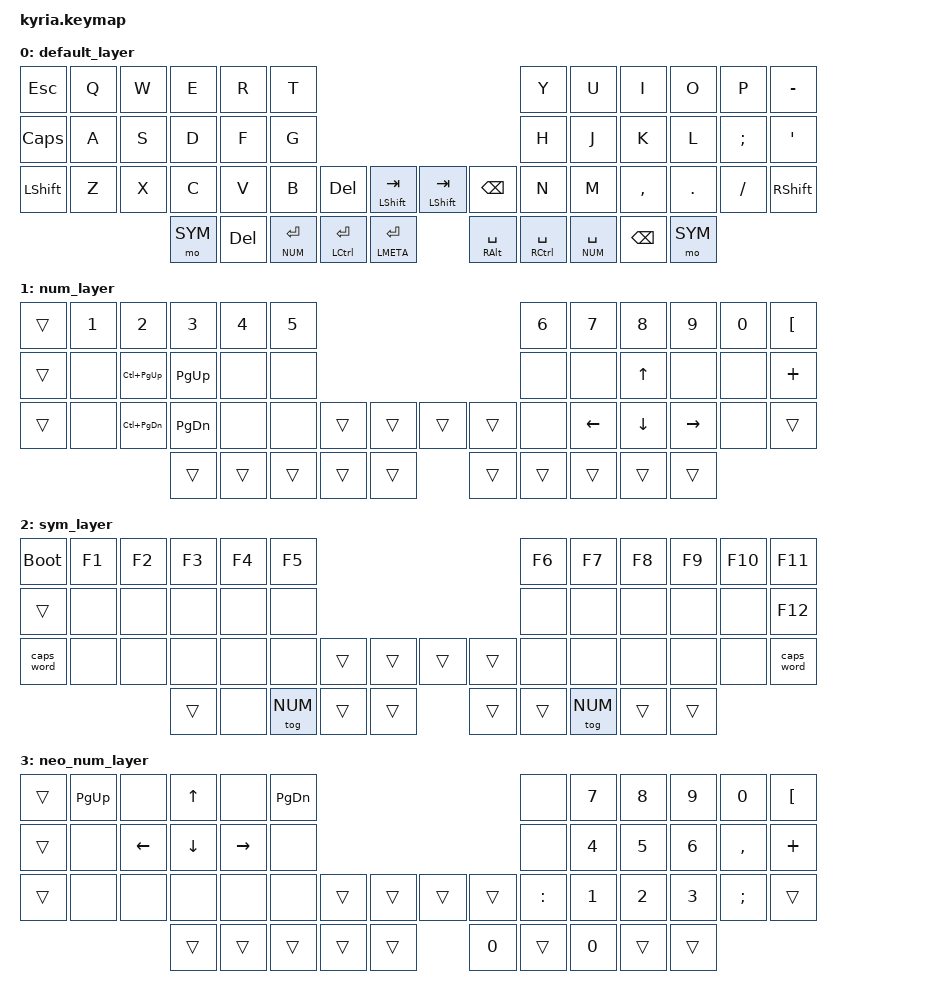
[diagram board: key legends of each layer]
/*
 * Copyright (c) 2020 The ZMK Contributors
 *
 * SPDX-License-Identifier: MIT
 */

#include <behaviors.dtsi>
#include <dt-bindings/zmk/keys.h>


#define DEFAULT 0
#define NUM     1
#define SYM     2

&left_encoder {
    status = "disabled";
};

&right_encoder {
    status = "disabled";
};

/ {
	keymap {
		compatible = "zmk,keymap";

		default_layer {
			bindings = <
//+----------+----------+----------+----------+----------+----------+                                                 +----------+----------+----------+----------+----------+----------+
//|          |          |          |          |          |          |                                                 |          |          |          |          |          |          |
  &kp ESC    &kp Q      &kp W      &kp E      &kp R      &kp T                                                        &kp Y      &kp U      &kp I      &kp O      &kp P      &kp MINUS
  &kp CAPS   &kp A      &kp S      &kp D      &kp F      &kp G                                                        &kp H      &kp J      &kp K      &kp L      &kp SEMI   &kp SQT
  &kp LSHFT  &kp Z      &kp X      &kp C      &kp V      &kp B      &kp DEL    &mt LSHFT TAB    &mt LSHFT TAB &kp BSPC &kp N     &kp M      &kp COMMA  &kp DOT    &kp FSLH   &kp RSHFT
//+----------+----------+----------+----------+----------+----------+----------+----------+     +----------+----------+----------+----------+----------+----------+----------+----------+
                                   &mo SYM    &kp DEL    &lt NUM RET &mt LCTRL RET &mt LMETA RET &mt RALT SPC &mt RCTRL SPC &lt NUM SPC &kp BSPC &mo SYM
//                                 |          |          |          |          |          |     |          |          |          |          |          |
//                                 +----------+----------+----------+----------+----------+     +----------+----------+----------+----------+----------+
			>;
		};
		num_layer {
			bindings = <
//+----------+----------+----------+----------+----------+----------+                                                 +----------+----------+----------+----------+----------+----------+
//|          |          |          |          |          |          |                                                 |          |          |          |          |          |          |
  &trans     &kp N1     &kp N2     &kp N3     &kp N4     &kp N5                                                       &kp N6     &kp N7     &kp N8     &kp N9     &kp N0     &kp LEFT_BRACKET
  &trans     &none      &kp LC(PAGE_UP) &kp PAGE_UP &none &none                                                       &none      &none      &kp UP     &none      &none      &kp PLUS
  &trans     &none      &kp LC(PAGE_DOWN) &kp PAGE_DOWN &none &none &trans     &trans           &trans     &trans     &none      &kp LEFT   &kp DOWN   &kp RIGHT  &none      &trans
//+----------+----------+----------+----------+----------+----------+----------+----------+     +----------+----------+----------+----------+----------+----------+----------+----------+
                                   &trans     &trans     &trans     &trans     &trans           &trans     &trans     &trans     &trans     &trans
//                                 |          |          |          |          |          |     |          |          |          |          |          |
//                                 +----------+----------+----------+----------+----------+     +----------+----------+----------+----------+----------+
			>;
		};
		sym_layer {
			bindings = <
//+----------+----------+----------+----------+----------+----------+                                                 +----------+----------+----------+----------+----------+----------+
//|          |          |          |          |          |          |                                                 |          |          |          |          |          |          |
  &bootloader &kp F1    &kp F2     &kp F3     &kp F4     &kp F5                                                       &kp F6     &kp F7     &kp F8     &kp F9     &kp F10    &kp F11
  &trans     &none      &none      &none      &none      &none                                                        &none      &none      &none      &none      &none      &kp F12
  &caps_word &none      &none      &none      &none      &none      &trans     &trans           &trans     &trans     &none      &none      &none      &none      &none      &caps_word
//+----------+----------+----------+----------+----------+----------+----------+----------+     +----------+----------+----------+----------+----------+----------+----------+----------+
                                   &trans     &none      &tog NUM   &trans     &trans           &trans     &trans     &tog NUM   &trans     &trans
//                                 |          |          |          |          |          |     |          |          |          |          |          |
//                                 +----------+----------+----------+----------+----------+     +----------+----------+----------+----------+----------+
			>;
		};
		neo_num_layer {
			bindings = <
//+----------+----------+----------+----------+----------+----------+                                                 +----------+----------+----------+----------+----------+----------+
//|          |          |          |          |          |          |                                                 |          |          |          |          |          |          |
  &trans     &kp PAGE_UP &none     &kp UP     &none      &kp PAGE_DOWN                                                &none      &kp N7     &kp N8     &kp N9     &kp N0     &kp LEFT_BRACKET
  &trans     &none      &kp LEFT   &kp DOWN   &kp RIGHT  &none                                                        &none      &kp N4     &kp N5     &kp N6     &kp COMMA  &kp PLUS
  &trans     &none      &none      &none      &none      &none      &trans     &trans           &trans     &trans     &kp COLON  &kp N1     &kp N2     &kp N3     &kp SEMI   &trans
//+----------+----------+----------+----------+----------+----------+----------+----------+     +----------+----------+----------+----------+----------+----------+----------+----------+
                                   &trans     &trans     &trans     &trans     &trans           &kp N0     &trans     &kp N0     &trans     &trans
//                                 |          |          |          |          |          |     |          |          |          |          |          |
//                                 +----------+----------+----------+----------+----------+     +----------+----------+----------+----------+----------+
			>;
		};
	};
};
